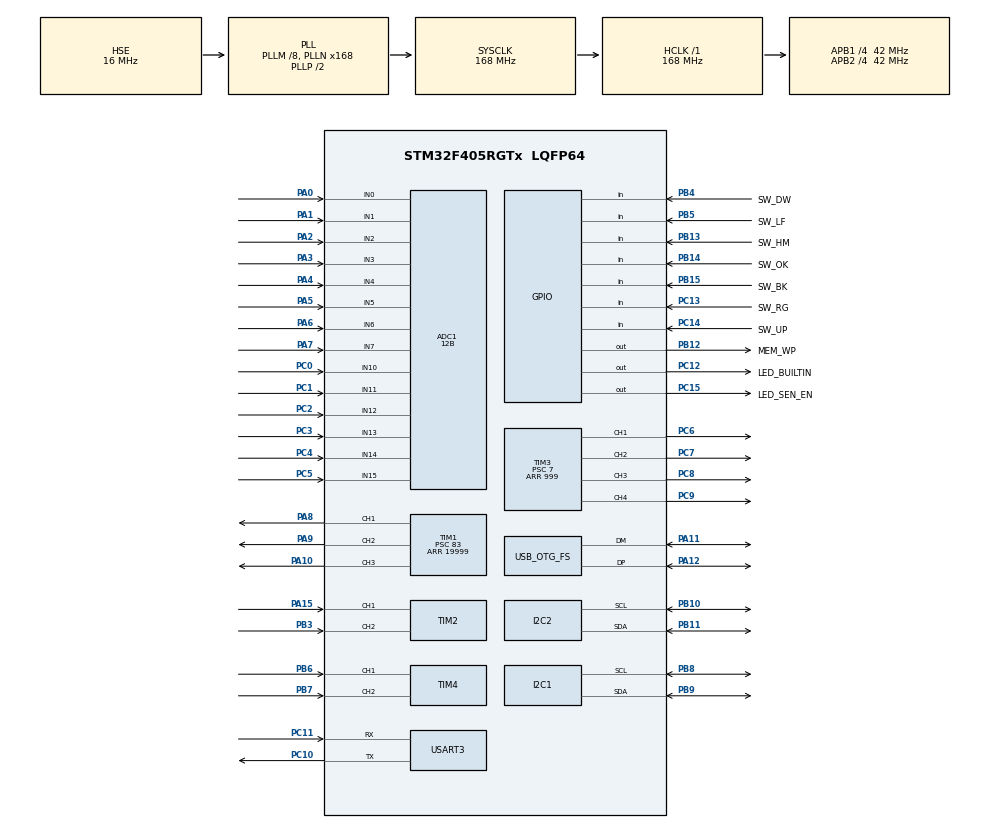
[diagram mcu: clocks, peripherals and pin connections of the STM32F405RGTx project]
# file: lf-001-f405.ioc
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ADC1.Channel-0\#ChannelRegularConversion=ADC_CHANNEL_15
ADC1.Channel-1\#ChannelRegularConversion=ADC_CHANNEL_10
ADC1.Channel-10\#ChannelRegularConversion=ADC_CHANNEL_4
ADC1.Channel-11\#ChannelRegularConversion=ADC_CHANNEL_1
ADC1.Channel-12\#ChannelRegularConversion=ADC_CHANNEL_3
ADC1.Channel-13\#ChannelRegularConversion=ADC_CHANNEL_2
ADC1.Channel-2\#ChannelRegularConversion=ADC_CHANNEL_14
ADC1.Channel-3\#ChannelRegularConversion=ADC_CHANNEL_11
ADC1.Channel-4\#ChannelRegularConversion=ADC_CHANNEL_7
ADC1.Channel-5\#ChannelRegularConversion=ADC_CHANNEL_12
ADC1.Channel-6\#ChannelRegularConversion=ADC_CHANNEL_6
ADC1.Channel-7\#ChannelRegularConversion=ADC_CHANNEL_13
ADC1.Channel-8\#ChannelRegularConversion=ADC_CHANNEL_5
ADC1.Channel-9\#ChannelRegularConversion=ADC_CHANNEL_0
ADC1.ClockPrescaler=ADC_CLOCK_SYNC_PCLK_DIV2
ADC1.ContinuousConvMode=DISABLE
ADC1.NbrOfConversion=14
ADC1.NbrOfConversionFlag=1
ADC1.Rank-0\#ChannelRegularConversion=1
ADC1.Rank-1\#ChannelRegularConversion=2
ADC1.Rank-10\#ChannelRegularConversion=11
ADC1.Rank-11\#ChannelRegularConversion=12
ADC1.Rank-12\#ChannelRegularConversion=13
ADC1.Rank-13\#ChannelRegularConversion=14
ADC1.Rank-2\#ChannelRegularConversion=3
ADC1.Rank-3\#ChannelRegularConversion=4
ADC1.Rank-4\#ChannelRegularConversion=5
ADC1.Rank-5\#ChannelRegularConversion=6
ADC1.Rank-6\#ChannelRegularConversion=7
ADC1.Rank-7\#ChannelRegularConversion=8
ADC1.Rank-8\#ChannelRegularConversion=9
ADC1.Rank-9\#ChannelRegularConversion=10
ADC1.Resolution=ADC_RESOLUTION_12B
ADC1.SamplingTime-0\#ChannelRegularConversion=ADC_SAMPLETIME_56CYCLES
ADC1.SamplingTime-1\#ChannelRegularConversion=ADC_SAMPLETIME_56CYCLES
ADC1.SamplingTime-10\#ChannelRegularConversion=ADC_SAMPLETIME_56CYCLES
ADC1.SamplingTime-11\#ChannelRegularConversion=ADC_SAMPLETIME_56CYCLES
ADC1.SamplingTime-12\#ChannelRegularConversion=ADC_SAMPLETIME_56CYCLES
ADC1.SamplingTime-13\#ChannelRegularConversion=ADC_SAMPLETIME_56CYCLES
ADC1.SamplingTime-2\#ChannelRegularConversion=ADC_SAMPLETIME_56CYCLES
ADC1.SamplingTime-3\#ChannelRegularConversion=ADC_SAMPLETIME_56CYCLES
ADC1.SamplingTime-4\#ChannelRegularConversion=ADC_SAMPLETIME_56CYCLES
ADC1.SamplingTime-5\#ChannelRegularConversion=ADC_SAMPLETIME_56CYCLES
ADC1.SamplingTime-6\#ChannelRegularConversion=ADC_SAMPLETIME_28CYCLES
ADC1.SamplingTime-7\#ChannelRegularConversion=ADC_SAMPLETIME_56CYCLES
ADC1.SamplingTime-8\#ChannelRegularConversion=ADC_SAMPLETIME_56CYCLES
ADC1.SamplingTime-9\#ChannelRegularConversion=ADC_SAMPLETIME_56CYCLES
ADC1.master=1
Dma.ADC1.0.Direction=DMA_PERIPH_TO_MEMORY
Dma.ADC1.0.FIFOMode=DMA_FIFOMODE_DISABLE
Dma.ADC1.0.Instance=DMA2_Stream0
Dma.ADC1.0.MemDataAlignment=DMA_MDATAALIGN_HALFWORD
Dma.ADC1.0.MemInc=DMA_MINC_ENABLE
Dma.ADC1.0.Mode=DMA_NORMAL
Dma.ADC1.0.PeriphDataAlignment=DMA_PDATAALIGN_HALFWORD
Dma.ADC1.0.PeriphInc=DMA_PINC_DISABLE
Dma.ADC1.0.Priority=DMA_PRIORITY_LOW
Dma.Request0=ADC1
I2C1.DutyCycle=I2C_DUTYCYCLE_16_9
I2C1.I2C_Mode=I2C_Fast
I2C2.I2C_Mode=I2C_Standard
Mcu.Family=STM32F4
Mcu.Name=STM32F405RGTx
Mcu.Package=LQFP64
NVIC.ADC_IRQn=true\:0\:0\:false\:false\:true\:true\:true\:true
NVIC.DMA2_Stream0_IRQn=true\:1\:0\:true\:false\:true\:false\:true\:true
NVIC.PriorityGroup=NVIC_PRIORITYGROUP_4
NVIC.TIM6_DAC_IRQn=true\:1\:0\:true\:false\:true\:true\:true\:true
PA0-WKUP.Signal=ADCx_IN0
PA1.Signal=ADCx_IN1
PA10.Signal=S_TIM1_CH3
PA11.Mode=Device_Only
PA11.Signal=USB_OTG_FS_DM
PA12.Mode=Device_Only
PA12.Signal=USB_OTG_FS_DP
PA13.Mode=Serial_Wire
PA13.Signal=SYS_JTMS-SWDIO
PA14.Mode=Serial_Wire
PA14.Signal=SYS_JTCK-SWCLK
PA15.Signal=S_TIM2_CH1_ETR
PA2.Signal=ADCx_IN2
PA3.Signal=ADCx_IN3
PA4.Signal=ADCx_IN4
PA5.Signal=ADCx_IN5
PA6.Signal=ADCx_IN6
PA7.Signal=ADCx_IN7
PA8.Signal=S_TIM1_CH1
PA9.Signal=S_TIM1_CH2
PB10.Mode=I2C
PB10.Signal=I2C2_SCL
PB11.Mode=I2C
PB11.Signal=I2C2_SDA
PB12.GPIO_Label=MEM_WP
PB12.GPIO_ModeDefaultOutputPP=GPIO_MODE_OUTPUT_OD
PB12.GPIO_PuPd=GPIO_NOPULL
PB12.Signal=GPIO_Output
PB13.GPIO_Label=SW_HM
PB13.GPIO_PuPd=GPIO_PULLUP
PB13.Signal=GPIO_Input
PB14.GPIO_Label=SW_OK
PB14.GPIO_PuPd=GPIO_PULLUP
PB14.Signal=GPIO_Input
PB15.GPIO_Label=SW_BK
PB15.GPIO_PuPd=GPIO_PULLUP
PB15.Signal=GPIO_Input
PB3.Signal=S_TIM2_CH2
PB4.GPIO_Label=SW_DW
PB4.GPIO_PuPd=GPIO_PULLUP
PB4.Signal=GPIO_Input
PB5.GPIO_Label=SW_LF
PB5.GPIO_PuPd=GPIO_PULLUP
PB5.Signal=GPIO_Input
PB6.Signal=S_TIM4_CH1
PB7.Signal=S_TIM4_CH2
PB8.Mode=I2C
PB8.Signal=I2C1_SCL
PB9.Mode=I2C
PB9.Signal=I2C1_SDA
PC0.Signal=ADCx_IN10
PC1.Signal=ADCx_IN11
PC10.Mode=Asynchronous
PC10.Signal=USART3_TX
PC11.Mode=Asynchronous
PC11.Signal=USART3_RX
PC12.GPIO_Label=LED_BUILTIN
PC12.Signal=GPIO_Output
PC13-ANTI_TAMP.GPIO_Label=SW_RG
PC13-ANTI_TAMP.GPIO_PuPd=GPIO_PULLUP
PC13-ANTI_TAMP.Signal=GPIO_Input
PC14-OSC32_IN.GPIO_Label=SW_UP
PC14-OSC32_IN.GPIO_PuPd=GPIO_PULLUP
PC14-OSC32_IN.Signal=GPIO_Input
PC15-OSC32_OUT.GPIO_Label=LED_SEN_EN
PC15-OSC32_OUT.GPIO_PuPd=GPIO_PULLDOWN
PC15-OSC32_OUT.Signal=GPIO_Output
PC2.Signal=ADCx_IN12
PC3.Signal=ADCx_IN13
PC4.Signal=ADCx_IN14
PC5.Signal=ADCx_IN15
PC6.Signal=S_TIM3_CH1
PC7.Signal=S_TIM3_CH2
PC8.Signal=S_TIM3_CH3
PC9.Signal=S_TIM3_CH4
PH0-OSC_IN.Mode=HSE-External-Oscillator
PH0-OSC_IN.Signal=RCC_OSC_IN
PH1-OSC_OUT.Mode=HSE-External-Oscillator
PH1-OSC_OUT.Signal=RCC_OSC_OUT
ProjectManager.HeapSize=0x200
ProjectManager.StackSize=0x400
ProjectManager.TargetToolchain=STM32CubeIDE
RCC.48MHZClocksFreq_Value=48000000
RCC.AHBFreq_Value=168000000
RCC.APB1CLKDivider=RCC_HCLK_DIV4
RCC.APB1Freq_Value=42000000
RCC.APB1TimFreq_Value=84000000
RCC.APB2CLKDivider=RCC_HCLK_DIV4
RCC.APB2Freq_Value=42000000
RCC.APB2TimFreq_Value=84000000
RCC.CortexFreq_Value=168000000
RCC.HCLKFreq_Value=168000000
RCC.HSE_VALUE=16000000
RCC.HSI_VALUE=16000000
RCC.LSE_VALUE=32768
RCC.PLLM=8
RCC.PLLN=168
RCC.PLLQ=7
RCC.SYSCLKFreq_VALUE=168000000
RCC.SYSCLKSource=RCC_SYSCLKSOURCE_PLLCLK
RCC.VCOOutputFreq_Value=336000000
SH.ADCx_IN0.0=ADC1_IN0,IN0
SH.ADCx_IN1.0=ADC1_IN1,IN1
SH.ADCx_IN10.0=ADC1_IN10,IN10
SH.ADCx_IN11.0=ADC1_IN11,IN11
SH.ADCx_IN12.0=ADC1_IN12,IN12
SH.ADCx_IN13.0=ADC1_IN13,IN13
SH.ADCx_IN14.0=ADC1_IN14,IN14
SH.ADCx_IN15.0=ADC1_IN15,IN15
SH.ADCx_IN2.0=ADC1_IN2,IN2
SH.ADCx_IN3.0=ADC1_IN3,IN3
SH.ADCx_IN4.0=ADC1_IN4,IN4
SH.ADCx_IN5.0=ADC1_IN5,IN5
SH.ADCx_IN6.0=ADC1_IN6,IN6
SH.ADCx_IN7.0=ADC1_IN7,IN7
SH.S_TIM1_CH1.0=TIM1_CH1,PWM Generation1 CH1
SH.S_TIM1_CH2.0=TIM1_CH2,PWM Generation2 CH2
SH.S_TIM1_CH3.0=TIM1_CH3,PWM Generation3 CH3
SH.S_TIM2_CH1_ETR.0=TIM2_CH1,Encoder_Interface
SH.S_TIM2_CH2.0=TIM2_CH2,Encoder_Interface
SH.S_TIM3_CH1.0=TIM3_CH1,PWM Generation1 CH1
SH.S_TIM3_CH2.0=TIM3_CH2,PWM Generation2 CH2
SH.S_TIM3_CH3.0=TIM3_CH3,PWM Generation3 CH3
SH.S_TIM3_CH4.0=TIM3_CH4,PWM Generation4 CH4
SH.S_TIM4_CH1.0=TIM4_CH1,Encoder_Interface
SH.S_TIM4_CH2.0=TIM4_CH2,Encoder_Interface
TIM1.Channel-PWM\ Generation1\ CH1=TIM_CHANNEL_1
TIM1.Channel-PWM\ Generation2\ CH2=TIM_CHANNEL_2
TIM1.Channel-PWM\ Generation3\ CH3=TIM_CHANNEL_3
TIM1.Period=19999
TIM1.Prescaler=83
TIM2.EncoderMode=TIM_ENCODERMODE_TI12
TIM3.Channel-PWM\ Generation1\ CH1=TIM_CHANNEL_1
TIM3.Channel-PWM\ Generation2\ CH2=TIM_CHANNEL_2
TIM3.Channel-PWM\ Generation3\ CH3=TIM_CHANNEL_3
TIM3.Channel-PWM\ Generation4\ CH4=TIM_CHANNEL_4
TIM3.Period=999
TIM3.Prescaler=7
TIM4.EncoderMode=TIM_ENCODERMODE_TI12
TIM6.Period=999
TIM6.Prescaler=83
USART3.VirtualMode=VM_ASYNC
USB_OTG_FS.VirtualMode=Device_Only
VP_TIM1_VS_ClockSourceINT.Mode=Internal
VP_TIM6_VS_ClockSourceINT.Mode=Enable_Timer
board=custom

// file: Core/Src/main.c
/* USER CODE BEGIN Header */
/**
  ******************************************************************************
  * @file           : main.c
  * @brief          : Main program body
  ******************************************************************************
  * @attention
  *
  * Copyright (c) 2023 STMicroelectronics.
  * All rights reserved.
  *
  * This software is licensed under terms that can be found in the LICENSE file
  * in the root directory of this software component.
  * If no LICENSE file comes with this software, it is provided AS-IS.
  *
  ******************************************************************************
  */
/* USER CODE END Header */
#include "main.h"
#include "adc.h"
#include "dma.h"
#include "i2c.h"
#include "tim.h"
#include "usart.h"
#include "usb_otg.h"
#include "gpio.h"

/* USER CODE BEGIN Includes */
#include "oled.h"
#include "display.h"
#include "ui.h"
#include "sensor.h"
#include "run.h"
#include "eeprom.h"
#include "storage.h"
#include "run.h"
#include "plan.h"
/* USER CODE END Includes */

/* USER CODE BEGIN PV */
uint8_t sensor_status[14];
uint8_t main_flag = 0;
uint8_t run_counter = 0;
/* USER CODE END PV */

void SystemClock_Config(void);

int main(void)
{

  /* MCU Configuration--------------------------------------------------------*/

  /* Reset of all peripherals, Initializes the Flash interface and the Systick. */
  HAL_Init();

  /* Configure the system clock */
  SystemClock_Config();

  /* Initialize all configured peripherals */
  MX_GPIO_Init();
  MX_DMA_Init();
  MX_ADC1_Init();
  MX_I2C1_Init();
  MX_I2C2_Init();
  MX_TIM1_Init();
  MX_TIM2_Init();
  MX_TIM3_Init();
  MX_TIM4_Init();
  MX_USB_OTG_FS_PCD_Init();
  MX_USART3_UART_Init();
  MX_TIM6_Init();
  /* USER CODE BEGIN 2 */
  EEP_Init(&hi2c2);
  SEN_Init(&hadc1);
  HAL_TIM_Encoder_Start(&htim2, TIM_CHANNEL_ALL);
  HAL_TIM_Encoder_Start(&htim4, TIM_CHANNEL_ALL);
  HAL_TIM_PWM_Start(&htim3, TIM_CHANNEL_1);
  HAL_TIM_PWM_Start(&htim3, TIM_CHANNEL_2);
  HAL_TIM_PWM_Start(&htim3, TIM_CHANNEL_3);
  HAL_TIM_PWM_Start(&htim3, TIM_CHANNEL_4);
  HAL_Delay(500);
  Run_Init();
  OLED_Init(&hi2c1);
  DISP_Test();
  HAL_GPIO_WritePin(LED_SEN_EN_GPIO_Port, LED_SEN_EN_Pin, GPIO_PIN_SET);
  HAL_GPIO_WritePin(MEM_WP_GPIO_Port, MEM_WP_Pin, GPIO_PIN_RESET);
  HAL_TIM_Base_Start_IT(&htim6);
  UI_Init();
  /* USER CODE END 2 */

  /* Infinite loop */
  while (1)
  {

    /* USER CODE BEGIN 3 */
//	  HAL_GPIO_TogglePin(LED_BUILTIN_GPIO_Port, LED_BUILTIN_Pin);
//	  OLED_Test();
	  UI_Main();

//	  HAL_Delay(500);
  }
  /* USER CODE END 3 */
}

void SystemClock_Config(void)
{
  RCC_OscInitTypeDef RCC_OscInitStruct = {0};
  RCC_ClkInitTypeDef RCC_ClkInitStruct = {0};

  /** Configure the main internal regulator output voltage
  */
  __HAL_RCC_PWR_CLK_ENABLE();
  __HAL_PWR_VOLTAGESCALING_CONFIG(PWR_REGULATOR_VOLTAGE_SCALE1);

  /** Initializes the RCC Oscillators according to the specified parameters
  * in the RCC_OscInitTypeDef structure.
  */
  RCC_OscInitStruct.OscillatorType = RCC_OSCILLATORTYPE_HSE;
  RCC_OscInitStruct.HSEState = RCC_HSE_ON;
  RCC_OscInitStruct.PLL.PLLState = RCC_PLL_ON;
  RCC_OscInitStruct.PLL.PLLSource = RCC_PLLSOURCE_HSE;
  RCC_OscInitStruct.PLL.PLLM = 8;
  RCC_OscInitStruct.PLL.PLLN = 168;
  RCC_OscInitStruct.PLL.PLLP = RCC_PLLP_DIV2;
  RCC_OscInitStruct.PLL.PLLQ = 7;
  if (HAL_RCC_OscConfig(&RCC_OscInitStruct) != HAL_OK)
  {
    Error_Handler();
  }

  /** Initializes the CPU, AHB and APB buses clocks
  */
  RCC_ClkInitStruct.ClockType = RCC_CLOCKTYPE_HCLK|RCC_CLOCKTYPE_SYSCLK
                              |RCC_CLOCKTYPE_PCLK1|RCC_CLOCKTYPE_PCLK2;
  RCC_ClkInitStruct.SYSCLKSource = RCC_SYSCLKSOURCE_PLLCLK;
  RCC_ClkInitStruct.AHBCLKDivider = RCC_SYSCLK_DIV1;
  RCC_ClkInitStruct.APB1CLKDivider = RCC_HCLK_DIV4;
  RCC_ClkInitStruct.APB2CLKDivider = RCC_HCLK_DIV4;

  if (HAL_RCC_ClockConfig(&RCC_ClkInitStruct, FLASH_LATENCY_5) != HAL_OK)
  {
    Error_Handler();
  }
}

/* USER CODE BEGIN 4 */

float coy = 50;;

void HAL_TIM_PeriodElapsedCallback(TIM_HandleTypeDef *htim) {
	if(htim->Instance == TIM6) {
		//1ms
		static int counter = 0;
		counter++;
//		if((sensor_flag & 2) != 2)
//			HAL_GPIO_WritePin(LED_SEN_EN_GPIO_Port, LED_SEN_EN_Pin, GPIO_PIN_SET);
//		kp = plan.kpid[0];
//		ki = plan.kpid[1];
//		kd = plan.kpid[2];
//		Run_LineTracing(coy, 0.001, 0);
		Run_MotorRoutine(0.001);
		if(counter >= 10) {
			main_flag |= MAIN_FLAG_DISP;
			counter = 0;
		}
		Plan_Main(0.001);
		Run_MotorRoutine2(0.001);
//			// 10ms
//			Run_MotorRoutine(0.01);
//			counter = 0;
//		}
		if((sensor_flag & 2) != 2) {
			SEN_StartReadSensor();
			sensor_flag |= 2;
		}
	}
}

void HAL_ADC_ConvCpltCallback(ADC_HandleTypeDef* hadc) {
	SEN_CallbackRoutine(hadc);
//	HAL_GPIO_WritePin(LED_SEN_EN_GPIO_Port, LED_SEN_EN_Pin, GPIO_PIN_RESET);
}

uint8_t xy;

/* USER CODE END 4 */

void Error_Handler(void)
{
  __disable_irq();
  while (1)
  {
  }
}
